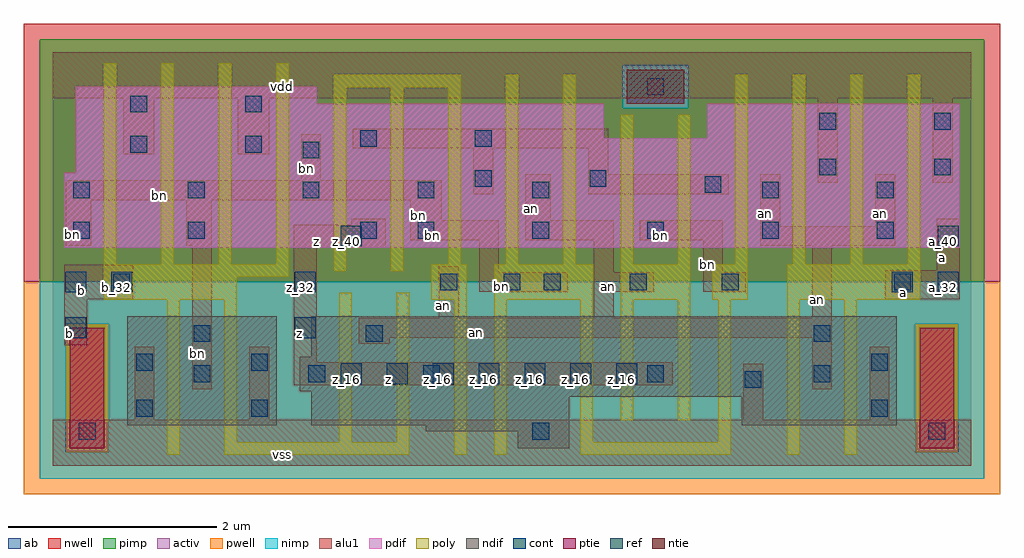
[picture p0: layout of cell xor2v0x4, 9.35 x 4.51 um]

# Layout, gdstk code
import gdstk
lib = gdstk.Library(unit=1e-6, precision=2.5e-09)
def R(c, l, rs):  # rectangles x0, y0, x1, y1
    for r in rs: c.add(gdstk.rectangle(r[:2], r[2:], *l))
def A(c, l, x, y, w, h, nx, ny, dx, dy):  # array of equal rectangles
    R(c, l, [(x+i*dx, y+j*dy, x+i*dx+w, y+j*dy+h) for i in range(nx) for j in range(ny)])
ndif = (3, 0)
pdif = (4, 0)
ntie = (5, 0)
ptie = (6, 0)
ref = (24, 0)
cont = (25, 0)
pwell = (41, 0)
nwell = (42, 0)
activ = (43, 0)
pimp = (44, 0)
nimp = (45, 0)
poly = (46, 0)
alu1 = (49, 0)
ab = (63, 0)

xor2v0x4 = lib.new_cell('xor2v0x4')
R(xor2v0x4, ndif, [(4.455,0.165,4.95,0.33), (3.575,0.33,4.95,0.385), (0.715,0.385,2.145,1.43), (2.475,0.385,4.95,0.66), (6.6,0.385,8.085,0.66), (2.475,0.66,8.085,0.715), (2.365,0.715,8.085,1.045), (2.475,1.045,8.085,1.43)])
R(xor2v0x4, pdif, [(0.11,2.09,8.69,2.805), (0.22,2.805,8.69,3.135), (0.22,3.135,5.28,3.465), (6.27,3.135,8.69,3.465), (0.22,3.465,2.53,3.63)])
R(xor2v0x4, ntie, [(5.5,3.465,6.05,3.795)])
R(xor2v0x4, ptie, [(0.165,0.165,0.495,1.32), (8.305,0.165,8.635,1.32)])
A(xor2v0x4, ref, 2.76, 0.78, 0.2, 0.2, 7, 1, 0.44, 0)
R(xor2v0x4, ref, [(0.12,1.22,0.32,1.42), (2.32,1.22,2.52,1.42), (0.12,1.66,0.32,1.86), (0.56,1.66,0.76,1.86), (2.32,1.66,2.52,1.86), (8.04,1.66,8.24,1.86), (8.48,1.66,8.68,1.86), (2.76,2.1,2.96,2.3), (8.48,2.1,8.68,2.3)])
A(xor2v0x4, cont, 1.35, 0.8, 0.16, 0.16, 3, 1, 1.1, 0)
A(xor2v0x4, cont, 3.495, 2.175, 0.16, 0.16, 5, 1, 1.1, 0)
A(xor2v0x4, cont, 0.195, 2.56, 0.16, 0.16, 5, 1, 1.1, 0)
R(xor2v0x4, cont, [(0.25,0.25,0.41,0.41), (4.595,0.25,4.755,0.41), (8.39,0.25,8.55,0.41), (0.8,0.47,0.96,0.63), (1.9,0.47,2.06,0.63), (7.84,0.47,8,0.63), (6.63,0.745,6.79,0.905), (5.695,0.8,5.855,0.96), (7.29,0.8,7.45,0.96), (0.8,0.91,0.96,1.07), (1.9,0.91,2.06,1.07), (7.84,0.91,8,1.07), (1.35,1.185,1.51,1.345), (3,1.185,3.16,1.345), (7.29,1.185,7.45,1.345), (0.58,1.68,0.74,1.84), (3.715,1.68,3.875,1.84), (4.32,1.68,4.48,1.84), (4.705,1.68,4.865,1.84), (5.53,1.68,5.69,1.84), (6.41,1.68,6.57,1.84), (8.06,1.68,8.22,1.84), (0.195,2.175,0.355,2.335), (1.295,2.175,1.455,2.335), (2.945,2.175,3.105,2.335), (6.795,2.56,6.955,2.72), (7.895,2.56,8.055,2.72), (6.245,2.615,6.405,2.775), (4.045,2.67,4.205,2.83), (5.145,2.67,5.305,2.83), (7.345,2.78,7.505,2.94), (8.445,2.78,8.605,2.94), (2.395,2.945,2.555,3.105), (0.745,3,0.905,3.16), (1.845,3,2.005,3.16), (2.945,3.055,3.105,3.215), (4.045,3.055,4.205,3.215), (7.345,3.22,7.505,3.38), (8.445,3.22,8.605,3.38), (0.745,3.385,0.905,3.545), (1.845,3.385,2.005,3.545), (5.695,3.55,5.855,3.71)])
R(xor2v0x4, pwell, [(-0.275,-0.275,9.075,1.76)])
R(xor2v0x4, nwell, [(-0.275,1.76,9.075,4.235)])
R(xor2v0x4, activ, [(0.165,0.165,0.495,1.32), (4.455,0.165,4.95,0.33), (8.305,0.165,8.635,1.32), (3.575,0.33,4.95,0.385), (0.715,0.385,2.145,1.43), (2.475,0.385,4.95,0.66), (6.6,0.385,8.085,0.66), (2.475,0.66,8.085,0.715), (2.365,0.715,8.085,1.045), (2.475,1.045,8.085,1.43), (0.11,2.09,8.69,2.805), (0.22,2.805,8.69,3.135), (0.22,3.135,5.28,3.465), (6.27,3.135,8.69,3.465), (0.22,3.465,2.53,3.63), (5.5,3.465,6.05,3.795)])
R(xor2v0x4, pimp, [(0.125,0.125,0.535,1.36), (8.265,0.125,8.675,1.36), (-0.125,1.76,8.925,3.425), (-0.125,3.425,5.46,3.835), (6.09,3.425,8.925,3.835), (-0.125,3.835,8.925,4.085)])
R(xor2v0x4, nimp, [(-0.125,-0.125,8.925,0.125), (-0.125,0.125,0.125,1.36), (0.535,0.125,8.265,1.36), (8.675,0.125,8.925,1.36), (-0.125,1.36,8.925,1.76), (5.46,3.425,6.09,3.835)])
A(xor2v0x4, poly, 0.49, 1.93, 0.12, 1.925, 4, 1, 0.55, 0)
A(xor2v0x4, poly, 6.54, 1.93, 0.12, 1.815, 4, 1, 0.55, 0)
R(xor2v0x4, poly, [(1.095,0.105,1.215,1.59), (1.645,0.105,3.415,0.225), (3.845,0.105,3.965,1.59), (4.23,0.105,4.35,1.59), (5.055,0.105,6.495,0.225), (7.035,0.105,7.155,1.59), (7.585,0.105,7.705,1.59), (1.645,0.225,1.765,1.59), (2.745,0.225,2.865,1.655), (3.295,0.225,3.415,1.655), (5.055,0.225,5.175,1.59), (6.375,0.225,6.495,1.59), (5.44,0.435,5.56,1.59), (5.99,0.435,6.11,1.59), (0.49,1.59,1.765,1.81), (3.625,1.59,3.965,1.93), (4.23,1.59,5.175,1.93), (5.44,1.59,6.11,1.93), (6.32,1.59,6.66,1.93), (7.035,1.59,8.31,1.93), (0.49,1.81,2.26,1.93), (2.69,1.865,2.81,3.625), (3.24,1.865,3.36,3.625), (3.79,1.93,3.91,3.625), (4.34,1.93,4.46,3.745), (4.89,1.93,5.01,3.745), (5.44,1.93,5.56,3.36), (5.99,1.93,6.11,3.36), (2.69,3.625,3.91,3.745)])
R(xor2v0x4, alu1, [(0,0,8.8,0.44), (0.785,0.44,0.975,1.14), (1.885,0.44,2.075,1.14), (6.615,0.44,6.805,0.975), (7.825,0.44,8.015,1.14), (1.335,0.73,1.525,2.105), (7.275,0.73,7.465,1.225), (2.31,0.77,5.94,0.99), (2.31,0.99,2.53,2.09), (0.11,1.155,0.33,1.595), (2.93,1.17,3.23,1.225), (2.93,1.225,7.465,1.415), (3.7,1.415,3.89,1.91), (5.185,1.415,5.375,1.665), (7.275,1.415,7.465,2.105), (0.11,1.595,0.77,1.925), (7.975,1.595,8.69,1.87), (4.085,1.665,4.935,1.855), (5.185,1.665,5.76,1.855), (6.23,1.665,6.64,1.855), (4.085,1.855,4.275,2.16), (5.185,1.855,5.375,2.16), (6.23,1.855,6.42,2.16), (8.47,1.87,8.69,2.365), (2.31,2.09,3.19,2.31), (0.125,2.105,0.37,2.545), (1.28,2.105,1.525,2.545), (6.78,2.105,8.07,2.295), (3.425,2.16,4.275,2.35), (4.525,2.16,5.375,2.35), (5.625,2.16,6.42,2.35), (6.78,2.295,6.97,2.79), (7.88,2.295,8.07,2.79), (2.86,2.31,3.19,2.365), (3.425,2.35,3.725,2.545), (4.525,2.35,4.77,2.79), (0.125,2.545,3.725,2.735), (4.03,2.6,4.22,3.04), (5.13,2.6,6.475,2.79), (7.33,2.71,7.52,3.52), (8.43,2.71,8.62,3.52), (2.38,2.735,2.57,3.175), (5.13,2.79,5.32,3.04), (0.675,2.985,0.975,3.52), (1.775,2.985,2.075,3.52), (2.875,3.04,5.32,3.23), (0,3.52,8.8,3.96)])
R(xor2v0x4, ab, [(0,0,8.8,3.96)])
xor2v0x4.add(gdstk.Label('vss', (2.2,0.11), layer=49, texttype=0))
xor2v0x4.add(gdstk.Label('z', (3.2175,0.825), layer=49, texttype=0))
xor2v0x4.add(gdstk.Label('an', (4.0625,1.2725), layer=49, texttype=0))
xor2v0x4.add(gdstk.Label('a', (8.1525,1.6625), layer=49, texttype=0))
xor2v0x4.add(gdstk.Label('a', (8.525,1.9925), layer=49, texttype=0))
xor2v0x4.add(gdstk.Label('an', (7.3225,1.5875), layer=49, texttype=0))
xor2v0x4.add(gdstk.Label('an', (5.3275,1.7125), layer=49, texttype=0))
xor2v0x4.add(gdstk.Label('bn', (4.2975,1.7125), layer=49, texttype=0))
xor2v0x4.add(gdstk.Label('an', (7.9275,2.4175), layer=49, texttype=0))
xor2v0x4.add(gdstk.Label('an', (6.8275,2.4175), layer=49, texttype=0))
xor2v0x4.add(gdstk.Label('bn', (6.2775,1.93), layer=49, texttype=0))
xor2v0x4.add(gdstk.Label('an', (3.7475,1.5375), layer=49, texttype=0))
xor2v0x4.add(gdstk.Label('z', (2.365,1.265), layer=49, texttype=0))
xor2v0x4.add(gdstk.Label('bn', (5.8225,2.2075), layer=49, texttype=0))
xor2v0x4.add(gdstk.Label('bn', (3.6375,2.2075), layer=49, texttype=0))
xor2v0x4.add(gdstk.Label('an', (4.585,2.46), layer=49, texttype=0))
xor2v0x4.add(gdstk.Label('bn', (3.5,2.3975), layer=49, texttype=0))
xor2v0x4.add(gdstk.Label('z', (2.53,2.145), layer=49, texttype=0))
xor2v0x4.add(gdstk.Label('bn', (1.3825,1.0725), layer=49, texttype=0))
xor2v0x4.add(gdstk.Label('b', (0.165,1.265), layer=49, texttype=0))
xor2v0x4.add(gdstk.Label('b', (0.275,1.6775), layer=49, texttype=0))
xor2v0x4.add(gdstk.Label('bn', (0.185,2.215), layer=49, texttype=0))
xor2v0x4.add(gdstk.Label('bn', (1.025,2.5925), layer=49, texttype=0))
xor2v0x4.add(gdstk.Label('bn', (2.4275,2.845), layer=49, texttype=0))
xor2v0x4.add(gdstk.Label('vdd', (2.2,3.63), layer=49, texttype=0))
xor2v0x4.add(gdstk.Label('a_40', (8.53,2.15), layer=24, texttype=0))
xor2v0x4.add(gdstk.Label('a_32', (8.53,1.71), layer=24, texttype=0))
xor2v0x4.add(gdstk.Label('b_24', (0.17,1.27), layer=24, texttype=0))
xor2v0x4.add(gdstk.Label('z_40', (2.81,2.15), layer=24, texttype=0))
xor2v0x4.add(gdstk.Label('z_32', (2.37,1.71), layer=24, texttype=0))
xor2v0x4.add(gdstk.Label('z_24', (2.37,1.27), layer=24, texttype=0))
xor2v0x4.add(gdstk.Label('z_16', (2.81,0.83), layer=24, texttype=0))
xor2v0x4.add(gdstk.Label('z_16', (5.45,0.83), layer=24, texttype=0))
xor2v0x4.add(gdstk.Label('b_32', (0.61,1.71), layer=24, texttype=0))
xor2v0x4.add(gdstk.Label('a_32', (8.09,1.71), layer=24, texttype=0))
xor2v0x4.add(gdstk.Label('b_32', (0.17,1.71), layer=24, texttype=0))
xor2v0x4.add(gdstk.Label('z_16', (3.25,0.83), layer=24, texttype=0))
xor2v0x4.add(gdstk.Label('z_16', (3.69,0.83), layer=24, texttype=0))
xor2v0x4.add(gdstk.Label('z_16', (4.13,0.83), layer=24, texttype=0))
xor2v0x4.add(gdstk.Label('z_16', (4.57,0.83), layer=24, texttype=0))
xor2v0x4.add(gdstk.Label('z_16', (5.01,0.83), layer=24, texttype=0))

lib.write_gds('xor2v0x4.gds')
